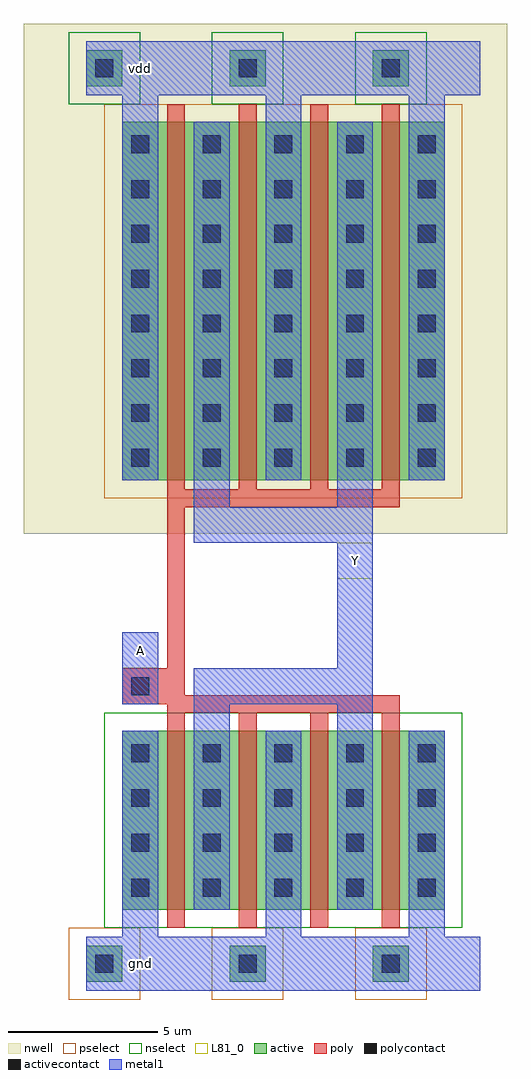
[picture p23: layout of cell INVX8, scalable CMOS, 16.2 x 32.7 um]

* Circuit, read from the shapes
.subckt INVX8 A Y gnd vdd
M1 Y A gnd gnd nfet w=6u l=0.6u m=4
M2 Y A vdd vdd pfet w=12u l=0.6u m=4
.ends

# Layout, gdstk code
import gdstk
lib = gdstk.Library(unit=1e-6, precision=1e-08)
def R(c, l, rs):  # rectangles x0, y0, x1, y1
    for r in rs: c.add(gdstk.rectangle(r[:2], r[2:], *l))
def A(c, l, x, y, w, h, nx, ny, dx, dy):  # array of equal rectangles
    R(c, l, [(x+i*dx, y+j*dy, x+i*dx+w, y+j*dy+h) for i in range(nx) for j in range(ny)])
nwell = (42, 0)
active = (43, 0)
pselect = (44, 0)
nselect = (45, 0)
poly = (46, 0)
polycontact = (47, 0)
activecontact = (48, 0)
metal1 = (49, 0)
L81_0 = (81, 0)

invx8 = lib.new_cell('INVX8')
R(invx8, nwell, [(-2.7,14.4,13.5,31.5)])
A(invx8, active, -0.6, -0.6, 1.2, 1.2, 3, 2, 4.8, 30)
R(invx8, active, [(0.6,1.8,11.4,7.8), (0.6,16.2,11.4,28.2)])
A(invx8, pselect, -1.2, -1.2, 2.4, 2.4, 3, 1, 4.8, 0)
R(invx8, pselect, [(0,15.6,12,28.8)])
A(invx8, nselect, -1.2, 28.8, 2.4, 2.4, 3, 1, 4.8, 0)
R(invx8, nselect, [(0,1.2,12,8.4)])
A(invx8, poly, 2.1, 1.2, 0.6, 7.2, 4, 1, 2.4, 0)
A(invx8, poly, 2.1, 15.9, 0.6, 12.9, 4, 1, 2.4, 0)
R(invx8, poly, [(2.1,8.4,9.9,8.7), (0.6,8.7,9.9,9), (0.6,9,2.7,9.9), (2.1,9.9,2.7,15.3), (2.1,15.3,9.9,15.9)])
R(invx8, polycontact, [(0.9,9,1.5,9.6)])
A(invx8, activecontact, -0.3, -0.3, 0.6, 0.6, 3, 2, 4.8, 30)
A(invx8, activecontact, 0.9, 2.25, 0.6, 0.6, 5, 4, 2.4, 1.5)
A(invx8, activecontact, 0.9, 16.65, 0.6, 0.6, 5, 8, 2.4, 1.5)
A(invx8, metal1, 0.6, 0.9, 1.2, 6.9, 3, 1, 4.8, 0)
A(invx8, metal1, 0.6, 16.2, 1.2, 12.9, 3, 1, 4.8, 0)
R(invx8, metal1, [(-0.6,-0.9,12.6,0.9), (3,1.8,4.2,8.7), (7.8,1.8,9,8.7), (0.6,8.7,1.8,11.1), (3,8.7,9,9.9), (7.8,9.9,9,14.1), (3,14.1,9,15.3), (3,15.3,4.2,28.2), (7.8,15.3,9,28.2), (-0.6,29.1,12.6,30.9)])
R(invx8, L81_0, [(0.6,9.9,1.8,11.1), (7.8,12.9,9,14.1)])
invx8.add(gdstk.Label('vdd', (1.2,30), layer=109, texttype=0))
invx8.add(gdstk.Label('gnd', (1.2,0), layer=109, texttype=0))
invx8.add(gdstk.Label('A', (1.2,10.5), layer=109, texttype=0))
invx8.add(gdstk.Label('Y', (8.4,13.5), layer=109, texttype=0))

lib.write_gds('INVX8.gds')
